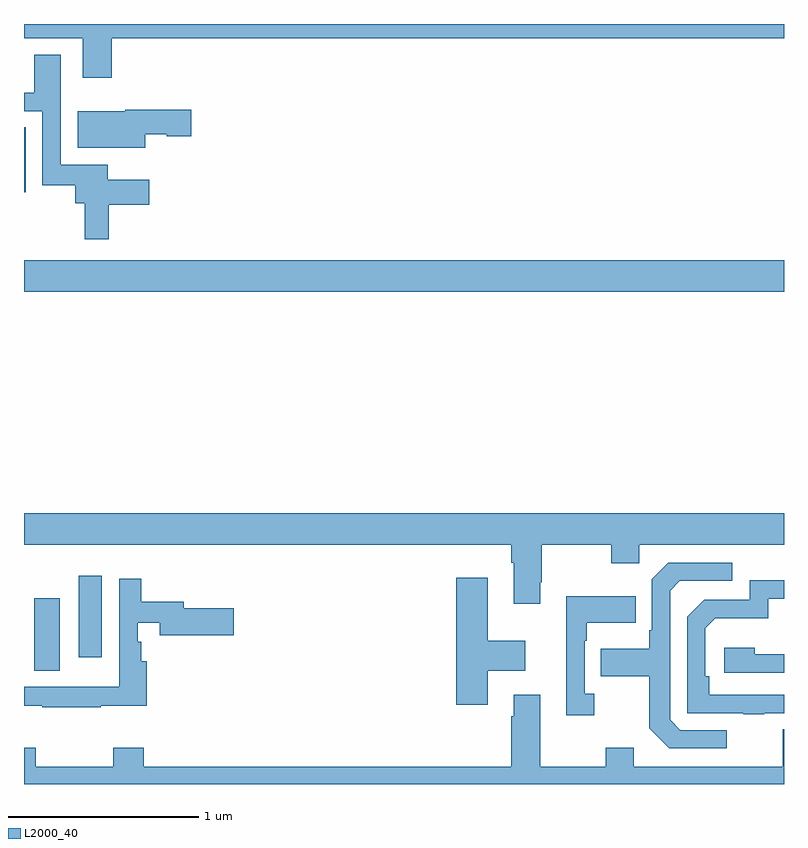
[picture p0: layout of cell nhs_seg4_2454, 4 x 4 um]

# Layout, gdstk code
import gdstk
lib = gdstk.Library(unit=1e-6, precision=1e-09)
def R(c, l, rs):  # rectangles x0, y0, x1, y1
    for r in rs: c.add(gdstk.rectangle(r[:2], r[2:], *l))
def P(c, l, *ps):  # polygons
    for p in ps: c.add(gdstk.Polygon(p, *l))
L2000_40 = (2000, 40)

nhs_seg4_2454 = lib.new_cell('nhs_seg4_2454')
R(nhs_seg4_2454, L2000_40, [(239.054,789.496,239.188,789.877), (239.288,789.567,239.41,789.997), (239,791.492,243,791.656), (239,792.015,239.008,792.356)])
P(nhs_seg4_2454, L2000_40, [(239.462,792.824),(243,792.824),(243,792.9),(239,792.9),(239,792.824),(239.309,792.824),(239.309,792.618),(239.462,792.618)],
  [(239.447,791.95),(239.659,791.95),(239.659,792.079),(239.441,792.079),(239.441,792.159),(239.193,792.159),(239.193,792.739),(239.054,792.739),(239.054,792.537),(239,792.537),(239,792.441),(239.097,792.441),(239.097,792.051),(239.27,792.051),(239.27,791.957),(239.319,791.957),(239.319,791.766),(239.447,791.766)],
  [(239.638,792.32),(239.751,792.32),(239.751,792.308),(239.881,792.308),(239.881,792.45),(239.534,792.45),(239.534,792.442),(239.282,792.442),(239.282,792.248),(239.638,792.248)],
  [(241.717,789.961),(241.725,789.961),(241.725,790.16),(242.092,790.16),(242.092,790.061),(242.238,790.061),(242.238,790.16),(243,790.16),(243,790.324),(239,790.324),(239,790.16),(241.565,790.16),(241.565,790.064),(241.577,790.064),(241.577,789.849),(241.717,789.849)],
  [(242.698,789.183),(242.454,789.183),(242.4,789.237),(242.4,789.918),(242.451,789.969),(242.728,789.969),(242.728,790.065),(242.391,790.065),(242.304,789.978),(242.304,789.709),(242.292,789.709),(242.292,789.613),(242.035,789.613),(242.035,789.466),(242.292,789.466),(242.292,789.193),(242.397,789.087),(242.698,789.087)],
  [(241.441,789.497),(241.639,789.497),(241.639,789.655),(241.441,789.655),(241.441,789.985),(241.274,789.985),(241.274,789.318),(241.441,789.318)],
  [(239.405,789.313),(239.645,789.313),(239.645,789.547),(239.618,789.547),(239.618,789.648),(239.598,789.648),(239.598,789.749),(239.714,789.749),(239.714,789.683),(240.103,789.683),(240.103,789.825),(239.842,789.825),(239.842,789.859),(239.618,789.859),(239.618,789.979),(239.502,789.979),(239.502,789.412),(239.292,789.412),(239.292,789.411),(239,789.411),(239,789.313),(239.095,789.313),(239.095,789.303),(239.405,789.303)],
  [(242.897,789.273),(243,789.273),(243,789.369),(242.606,789.369),(242.606,789.466),(242.586,789.466),(242.586,789.72),(242.639,789.773),(242.916,789.773),(242.916,789.876),(243,789.876),(243,789.972),(242.82,789.972),(242.82,789.87),(242.58,789.87),(242.49,789.78),(242.49,789.273),(242.785,789.273),(242.785,789.268),(242.897,789.268)],
  [(242.002,789.374),(241.95,789.374),(241.95,789.653),(241.963,789.653),(241.963,789.749),(242.219,789.749),(242.219,789.889),(241.853,789.889),(241.853,789.261),(242.002,789.261)],
  [(243,789.582),(242.846,789.582),(242.846,789.616),(242.685,789.616),(242.685,789.486),(243,789.486)],
  [(243,789.187),(242.993,789.187),(242.993,788.992),(242.209,788.992),(242.209,789.091),(242.062,789.091),(242.062,788.992),(241.717,788.992),(241.717,789.37),(241.577,789.37),(241.577,789.257),(241.565,789.257),(241.565,788.992),(239.63,788.992),(239.63,789.091),(239.47,789.091),(239.47,788.992),(239.061,788.992),(239.061,789.091),(239,789.091),(239,788.9),(243,788.9)])

lib.write_gds('nhs_seg4_2454.gds')
